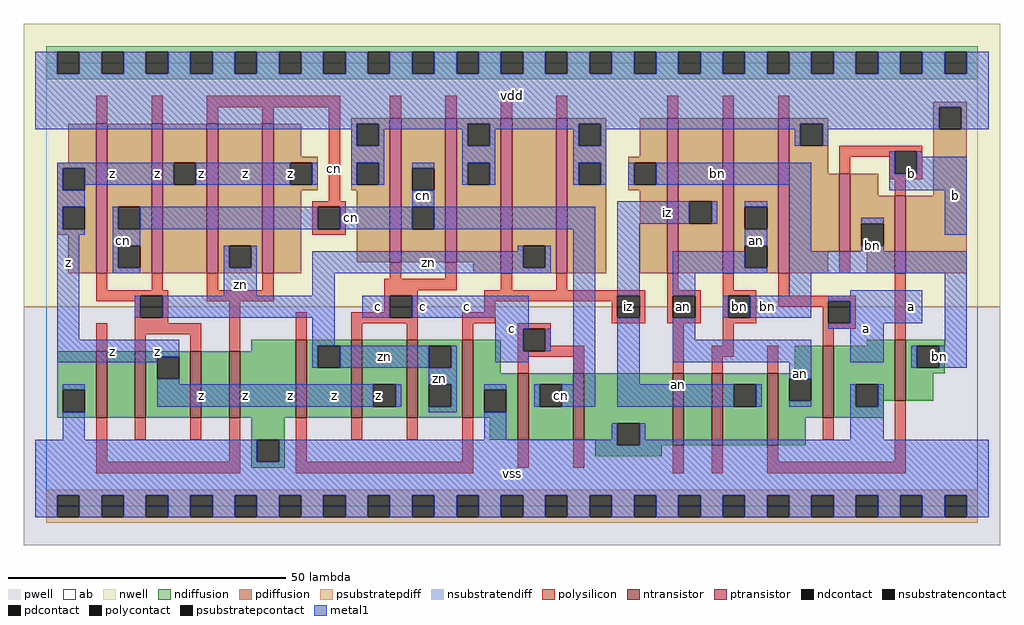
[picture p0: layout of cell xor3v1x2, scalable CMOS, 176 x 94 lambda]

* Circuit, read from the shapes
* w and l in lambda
.subckt xor3v1x2 a an b bn c cn iz vdd vss z zn
M1 n1 cn vss vss nfet w=12 l=2
M2 z zn n1 vss nfet w=12 l=2
M3 n2 zn z vss nfet w=12 l=2
M4 vss cn n2 vss nfet w=12 l=2
M5 zn iz vss vss nfet w=14 l=2 m=2
M6 z c zn vss nfet w=14 l=2 m=2
M7 cn c vss vss nfet w=12 l=2 m=2
M8 n3 an vss vss nfet w=13 l=2
M9 iz bn n3 vss nfet w=13 l=2
M10 an b iz vss nfet w=13 l=2
M11 vss a an vss nfet w=13 l=2
M12 bn b vss vss nfet w=11 l=2
M13 cn zn z vdd pfet w=27 l=2 m=2
M14 zn cn z vdd pfet w=27 l=2 m=2
M15 cn c vdd vdd pfet w=26 l=2 m=2
M16 zn iz vdd vdd pfet w=28 l=2 m=2
M17 iz an bn vdd pfet w=28 l=2
M18 an bn iz vdd pfet w=28 l=2
M19 vdd a an vdd pfet w=28 l=2
M20 bn b vdd vdd pfet w=14 l=2 m=2
.ends

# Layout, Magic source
magic
tech scmos
<< ab >>
rect 0 0 168 80
<< pwell >>
rect -4 -7 172 36
<< nwell >>
rect -4 36 172 87
<< polysilicon >>
rect 9 69 11 74
rect 19 69 21 74
rect 29 72 53 74
rect 29 69 31 72
rect 39 69 41 72
rect 51 55 53 72
rect 62 70 64 74
rect 72 70 74 74
rect 82 70 84 74
rect 92 70 94 74
rect 112 70 114 74
rect 122 70 124 74
rect 132 70 134 74
rect 48 54 54 55
rect 48 50 49 54
rect 53 50 54 54
rect 48 49 54 50
rect 9 39 11 42
rect 19 39 21 42
rect 29 39 31 42
rect 39 39 41 42
rect 62 41 64 44
rect 72 41 74 44
rect 143 64 158 65
rect 143 63 153 64
rect 143 60 145 63
rect 152 60 153 63
rect 157 60 158 64
rect 152 59 158 60
rect 153 56 155 59
rect 143 42 145 46
rect 9 38 22 39
rect 9 37 17 38
rect 16 34 17 37
rect 21 34 22 38
rect 29 37 41 39
rect 61 39 74 41
rect 82 39 84 42
rect 92 39 94 42
rect 112 39 114 42
rect 122 39 124 42
rect 61 38 67 39
rect 16 33 22 34
rect 9 28 11 33
rect 16 31 28 33
rect 16 28 18 31
rect 26 28 28 31
rect 33 28 35 37
rect 61 35 62 38
rect 45 30 47 35
rect 55 34 62 35
rect 66 34 67 38
rect 79 38 108 39
rect 79 37 103 38
rect 79 35 81 37
rect 55 33 67 34
rect 55 30 57 33
rect 65 30 67 33
rect 75 33 81 35
rect 102 34 103 37
rect 107 34 108 38
rect 102 33 108 34
rect 112 38 118 39
rect 112 34 113 38
rect 117 34 118 38
rect 112 33 118 34
rect 122 38 128 39
rect 122 34 123 38
rect 127 34 128 38
rect 132 38 134 42
rect 132 37 146 38
rect 132 36 141 37
rect 122 33 128 34
rect 140 33 141 36
rect 145 33 146 37
rect 75 30 77 33
rect 85 32 91 33
rect 85 28 86 32
rect 90 29 91 32
rect 90 28 97 29
rect 85 27 97 28
rect 85 24 87 27
rect 95 24 97 27
rect 113 24 115 33
rect 122 29 124 33
rect 140 32 146 33
rect 140 29 142 32
rect 153 30 155 42
rect 120 27 124 29
rect 120 24 122 27
rect 130 24 132 29
rect 9 8 11 16
rect 16 12 18 16
rect 26 12 28 16
rect 33 8 35 16
rect 9 6 35 8
rect 45 8 47 16
rect 55 12 57 16
rect 65 12 67 16
rect 75 8 77 16
rect 45 6 77 8
rect 85 7 87 12
rect 95 7 97 12
rect 140 12 142 16
rect 113 6 115 11
rect 120 6 122 11
rect 130 8 132 11
rect 153 8 155 19
rect 130 6 155 8
<< ndiffusion >>
rect 37 28 45 30
rect 2 21 9 28
rect 2 17 3 21
rect 7 17 9 21
rect 2 16 9 17
rect 11 16 16 28
rect 18 27 26 28
rect 18 23 20 27
rect 24 23 26 27
rect 18 16 26 23
rect 28 16 33 28
rect 35 16 45 28
rect 47 29 55 30
rect 47 25 49 29
rect 53 25 55 29
rect 47 16 55 25
rect 57 22 65 30
rect 57 18 59 22
rect 63 18 65 22
rect 57 16 65 18
rect 67 29 75 30
rect 67 25 69 29
rect 73 25 75 29
rect 67 22 75 25
rect 67 18 69 22
rect 73 18 75 22
rect 67 16 75 18
rect 77 24 82 30
rect 148 29 153 30
rect 135 24 140 29
rect 77 21 85 24
rect 77 17 79 21
rect 83 17 85 21
rect 77 16 85 17
rect 37 12 43 16
rect 37 8 38 12
rect 42 8 43 12
rect 37 7 43 8
rect 80 12 85 16
rect 87 22 95 24
rect 87 18 89 22
rect 93 18 95 22
rect 87 12 95 18
rect 97 15 113 24
rect 97 12 103 15
rect 99 11 103 12
rect 107 11 113 15
rect 115 11 120 24
rect 122 22 130 24
rect 122 18 124 22
rect 128 18 130 22
rect 122 11 130 18
rect 132 23 140 24
rect 132 19 134 23
rect 138 19 140 23
rect 132 16 140 19
rect 142 22 153 29
rect 142 18 146 22
rect 150 19 153 22
rect 155 29 162 30
rect 155 25 157 29
rect 161 25 162 29
rect 155 24 162 25
rect 155 19 160 24
rect 150 18 151 19
rect 142 16 151 18
rect 132 11 137 16
rect 99 9 111 11
<< pdiffusion >>
rect 4 62 9 69
rect 2 61 9 62
rect 2 57 3 61
rect 7 57 9 61
rect 2 54 9 57
rect 2 50 3 54
rect 7 50 9 54
rect 2 49 9 50
rect 4 42 9 49
rect 11 54 19 69
rect 11 50 13 54
rect 17 50 19 54
rect 11 47 19 50
rect 11 43 13 47
rect 17 43 19 47
rect 11 42 19 43
rect 21 62 29 69
rect 21 58 23 62
rect 27 58 29 62
rect 21 42 29 58
rect 31 47 39 69
rect 31 43 33 47
rect 37 43 39 47
rect 31 42 39 43
rect 41 63 46 69
rect 41 62 49 63
rect 41 58 44 62
rect 48 58 49 62
rect 41 57 49 58
rect 41 42 46 57
rect 160 72 166 73
rect 55 69 62 70
rect 55 65 56 69
rect 60 65 62 69
rect 55 62 62 65
rect 55 58 56 62
rect 60 58 62 62
rect 55 57 62 58
rect 56 44 62 57
rect 64 61 72 70
rect 64 57 66 61
rect 70 57 72 61
rect 64 54 72 57
rect 64 50 66 54
rect 70 50 72 54
rect 64 44 72 50
rect 74 69 82 70
rect 74 65 76 69
rect 80 65 82 69
rect 74 62 82 65
rect 74 58 76 62
rect 80 58 82 62
rect 74 44 82 58
rect 77 42 82 44
rect 84 47 92 70
rect 84 43 86 47
rect 90 43 92 47
rect 84 42 92 43
rect 94 69 101 70
rect 94 65 96 69
rect 100 65 101 69
rect 94 62 101 65
rect 107 63 112 70
rect 94 58 96 62
rect 100 58 101 62
rect 94 42 101 58
rect 105 62 112 63
rect 105 58 106 62
rect 110 58 112 62
rect 105 57 112 58
rect 107 42 112 57
rect 114 55 122 70
rect 114 51 116 55
rect 120 51 122 55
rect 114 42 122 51
rect 124 54 132 70
rect 124 50 126 54
rect 130 50 132 54
rect 124 47 132 50
rect 124 43 126 47
rect 130 43 132 47
rect 124 42 132 43
rect 134 69 141 70
rect 134 65 136 69
rect 140 65 141 69
rect 160 68 161 72
rect 165 68 166 72
rect 134 60 141 65
rect 134 46 143 60
rect 145 56 150 60
rect 160 56 166 68
rect 145 51 153 56
rect 145 47 147 51
rect 151 47 153 51
rect 145 46 153 47
rect 134 42 141 46
rect 148 42 153 46
rect 155 42 166 56
<< metal1 >>
rect -2 78 2 82
rect 6 78 10 82
rect 14 78 18 82
rect 22 78 26 82
rect 30 78 34 82
rect 38 78 42 82
rect 46 78 50 82
rect 54 78 58 82
rect 62 78 66 82
rect 70 78 74 82
rect 78 78 82 82
rect 86 78 90 82
rect 94 78 98 82
rect 102 78 106 82
rect 110 78 114 82
rect 118 78 122 82
rect 126 78 130 82
rect 134 78 138 82
rect 142 78 146 82
rect 150 78 154 82
rect 158 78 162 82
rect 166 78 170 82
rect -2 72 170 78
rect -2 69 161 72
rect -2 68 56 69
rect 55 65 56 68
rect 60 68 76 69
rect 60 65 61 68
rect 55 62 61 65
rect 75 65 76 68
rect 80 68 96 69
rect 80 65 81 68
rect 75 62 81 65
rect 2 61 23 62
rect 2 57 3 61
rect 7 58 23 61
rect 27 58 44 62
rect 48 58 49 62
rect 55 58 56 62
rect 60 58 61 62
rect 66 61 70 62
rect 2 54 7 57
rect 75 58 76 62
rect 80 58 81 62
rect 95 65 96 68
rect 100 68 136 69
rect 100 65 101 68
rect 135 65 136 68
rect 140 68 161 69
rect 165 68 170 72
rect 140 65 141 68
rect 95 62 101 65
rect 95 58 96 62
rect 100 58 101 62
rect 105 58 106 62
rect 110 58 138 62
rect 66 54 70 57
rect 2 50 3 54
rect 2 49 7 50
rect 12 50 13 54
rect 17 50 49 54
rect 53 50 66 54
rect 70 50 99 54
rect 2 30 6 49
rect 12 47 17 50
rect 12 43 13 47
rect 12 42 17 43
rect 32 43 33 47
rect 37 43 38 47
rect 85 46 86 47
rect 32 38 38 43
rect 48 43 86 46
rect 90 43 91 47
rect 48 42 91 43
rect 48 38 52 42
rect 16 34 17 38
rect 21 34 52 38
rect 57 34 62 38
rect 66 34 87 38
rect 2 27 24 30
rect 2 26 20 27
rect 48 29 52 34
rect 81 32 87 34
rect 48 25 49 29
rect 53 25 69 29
rect 73 25 74 29
rect 81 28 86 32
rect 90 28 91 32
rect 81 26 87 28
rect 20 22 24 23
rect 69 22 74 25
rect 95 22 99 50
rect 3 21 7 22
rect 20 18 59 22
rect 63 18 64 22
rect 73 18 74 22
rect 69 17 74 18
rect 79 21 83 22
rect 88 18 89 22
rect 93 18 99 22
rect 103 51 116 55
rect 120 51 121 55
rect 126 54 130 55
rect 103 38 107 51
rect 126 47 130 50
rect 103 22 107 34
rect 113 43 126 46
rect 113 42 130 43
rect 134 46 138 58
rect 152 60 153 64
rect 157 63 158 64
rect 157 60 166 63
rect 152 57 166 60
rect 147 51 151 52
rect 162 49 166 57
rect 147 46 151 47
rect 134 42 166 46
rect 113 38 117 42
rect 134 38 138 42
rect 145 38 158 39
rect 122 34 123 38
rect 127 34 138 38
rect 141 37 158 38
rect 113 30 117 34
rect 145 33 158 37
rect 141 32 151 33
rect 113 26 138 30
rect 145 26 151 32
rect 162 29 166 42
rect 134 23 138 26
rect 156 25 157 29
rect 161 25 166 29
rect 103 18 124 22
rect 128 18 129 22
rect 134 18 138 19
rect 145 18 146 22
rect 150 18 151 22
rect 3 12 7 17
rect 79 12 83 17
rect 102 12 103 15
rect -2 8 38 12
rect 42 11 103 12
rect 107 12 108 15
rect 145 12 151 18
rect 107 11 170 12
rect 42 8 170 11
rect -2 2 170 8
rect -2 -2 2 2
rect 6 -2 10 2
rect 14 -2 18 2
rect 22 -2 26 2
rect 30 -2 34 2
rect 38 -2 42 2
rect 46 -2 50 2
rect 54 -2 58 2
rect 62 -2 66 2
rect 70 -2 74 2
rect 78 -2 82 2
rect 86 -2 90 2
rect 94 -2 98 2
rect 102 -2 106 2
rect 110 -2 114 2
rect 118 -2 122 2
rect 126 -2 130 2
rect 134 -2 138 2
rect 142 -2 146 2
rect 150 -2 154 2
rect 158 -2 162 2
rect 166 -2 170 2
<< ntransistor >>
rect 9 16 11 28
rect 16 16 18 28
rect 26 16 28 28
rect 33 16 35 28
rect 45 16 47 30
rect 55 16 57 30
rect 65 16 67 30
rect 75 16 77 30
rect 85 12 87 24
rect 95 12 97 24
rect 113 11 115 24
rect 120 11 122 24
rect 130 11 132 24
rect 140 16 142 29
rect 153 19 155 30
<< ptransistor >>
rect 9 42 11 69
rect 19 42 21 69
rect 29 42 31 69
rect 39 42 41 69
rect 62 44 64 70
rect 72 44 74 70
rect 82 42 84 70
rect 92 42 94 70
rect 112 42 114 70
rect 122 42 124 70
rect 132 42 134 70
rect 143 46 145 60
rect 153 42 155 56
<< polycontact >>
rect 49 50 53 54
rect 153 60 157 64
rect 17 34 21 38
rect 62 34 66 38
rect 103 34 107 38
rect 113 34 117 38
rect 123 34 127 38
rect 141 33 145 37
rect 86 28 90 32
<< ndcontact >>
rect 3 17 7 21
rect 20 23 24 27
rect 49 25 53 29
rect 59 18 63 22
rect 69 25 73 29
rect 69 18 73 22
rect 79 17 83 21
rect 38 8 42 12
rect 89 18 93 22
rect 103 11 107 15
rect 124 18 128 22
rect 134 19 138 23
rect 146 18 150 22
rect 157 25 161 29
<< pdcontact >>
rect 3 57 7 61
rect 3 50 7 54
rect 13 50 17 54
rect 13 43 17 47
rect 23 58 27 62
rect 33 43 37 47
rect 44 58 48 62
rect 56 65 60 69
rect 56 58 60 62
rect 66 57 70 61
rect 66 50 70 54
rect 76 65 80 69
rect 76 58 80 62
rect 86 43 90 47
rect 96 65 100 69
rect 96 58 100 62
rect 106 58 110 62
rect 116 51 120 55
rect 126 50 130 54
rect 126 43 130 47
rect 136 65 140 69
rect 161 68 165 72
rect 147 47 151 51
<< psubstratepcontact >>
rect 2 -2 6 2
rect 10 -2 14 2
rect 18 -2 22 2
rect 26 -2 30 2
rect 34 -2 38 2
rect 42 -2 46 2
rect 50 -2 54 2
rect 58 -2 62 2
rect 66 -2 70 2
rect 74 -2 78 2
rect 82 -2 86 2
rect 90 -2 94 2
rect 98 -2 102 2
rect 106 -2 110 2
rect 114 -2 118 2
rect 122 -2 126 2
rect 130 -2 134 2
rect 138 -2 142 2
rect 146 -2 150 2
rect 154 -2 158 2
rect 162 -2 166 2
<< nsubstratencontact >>
rect 2 78 6 82
rect 10 78 14 82
rect 18 78 22 82
rect 26 78 30 82
rect 34 78 38 82
rect 42 78 46 82
rect 50 78 54 82
rect 58 78 62 82
rect 66 78 70 82
rect 74 78 78 82
rect 82 78 86 82
rect 90 78 94 82
rect 98 78 102 82
rect 106 78 110 82
rect 114 78 118 82
rect 122 78 126 82
rect 130 78 134 82
rect 138 78 142 82
rect 146 78 150 82
rect 154 78 158 82
rect 162 78 166 82
<< psubstratepdiff >>
rect 0 2 168 3
rect 0 -2 2 2
rect 6 -2 10 2
rect 14 -2 18 2
rect 22 -2 26 2
rect 30 -2 34 2
rect 38 -2 42 2
rect 46 -2 50 2
rect 54 -2 58 2
rect 62 -2 66 2
rect 70 -2 74 2
rect 78 -2 82 2
rect 86 -2 90 2
rect 94 -2 98 2
rect 102 -2 106 2
rect 110 -2 114 2
rect 118 -2 122 2
rect 126 -2 130 2
rect 134 -2 138 2
rect 142 -2 146 2
rect 150 -2 154 2
rect 158 -2 162 2
rect 166 -2 168 2
rect 0 -3 168 -2
<< nsubstratendiff >>
rect 0 82 168 83
rect 0 78 2 82
rect 6 78 10 82
rect 14 78 18 82
rect 22 78 26 82
rect 30 78 34 82
rect 38 78 42 82
rect 46 78 50 82
rect 54 78 58 82
rect 62 78 66 82
rect 70 78 74 82
rect 78 78 82 82
rect 86 78 90 82
rect 94 78 98 82
rect 102 78 106 82
rect 110 78 114 82
rect 118 78 122 82
rect 126 78 130 82
rect 134 78 138 82
rect 142 78 146 82
rect 150 78 154 82
rect 158 78 162 82
rect 166 78 168 82
rect 0 77 168 78
<< labels >>
rlabel polysilicon 52 61 52 61 6 cn
rlabel ntransistor 114 22 114 22 6 an
rlabel polycontact 105 36 105 36 6 iz
rlabel polycontact 125 36 125 36 6 bn
rlabel metal1 20 28 20 28 6 z
rlabel metal1 12 28 12 28 6 z
rlabel metal1 28 20 28 20 6 z
rlabel metal1 4 44 4 44 6 z
rlabel metal1 14 48 14 48 6 cn
rlabel metal1 12 60 12 60 6 z
rlabel metal1 20 60 20 60 6 z
rlabel metal1 28 60 28 60 6 z
rlabel metal1 36 20 36 20 6 z
rlabel metal1 44 20 44 20 6 z
rlabel metal1 52 20 52 20 6 z
rlabel ndcontact 60 20 60 20 6 z
rlabel metal1 35 40 35 40 6 zn
rlabel metal1 60 36 60 36 6 c
rlabel metal1 36 60 36 60 6 z
rlabel metal1 44 60 44 60 6 z
rlabel metal1 84 6 84 6 6 vss
rlabel metal1 61 27 61 27 6 zn
rlabel metal1 71 23 71 23 6 zn
rlabel metal1 93 20 93 20 6 cn
rlabel metal1 84 32 84 32 6 c
rlabel metal1 68 36 68 36 6 c
rlabel metal1 69 44 69 44 6 zn
rlabel metal1 76 36 76 36 6 c
rlabel metal1 68 56 68 56 6 cn
rlabel metal1 55 52 55 52 6 cn
rlabel metal1 84 74 84 74 6 vdd
rlabel metal1 116 20 116 20 6 iz
rlabel polycontact 115 36 115 36 6 an
rlabel metal1 128 48 128 48 6 an
rlabel polycontact 105 36 105 36 6 iz
rlabel metal1 112 53 112 53 6 iz
rlabel metal1 136 24 136 24 6 an
rlabel metal1 161 27 161 27 6 bn
rlabel metal1 148 32 148 32 6 a
rlabel metal1 130 36 130 36 6 bn
rlabel metal1 156 36 156 36 6 a
rlabel metal1 149 47 149 47 6 bn
rlabel metal1 121 60 121 60 6 bn
rlabel metal1 156 60 156 60 6 b
rlabel metal1 164 56 164 56 6 b
<< end >>
